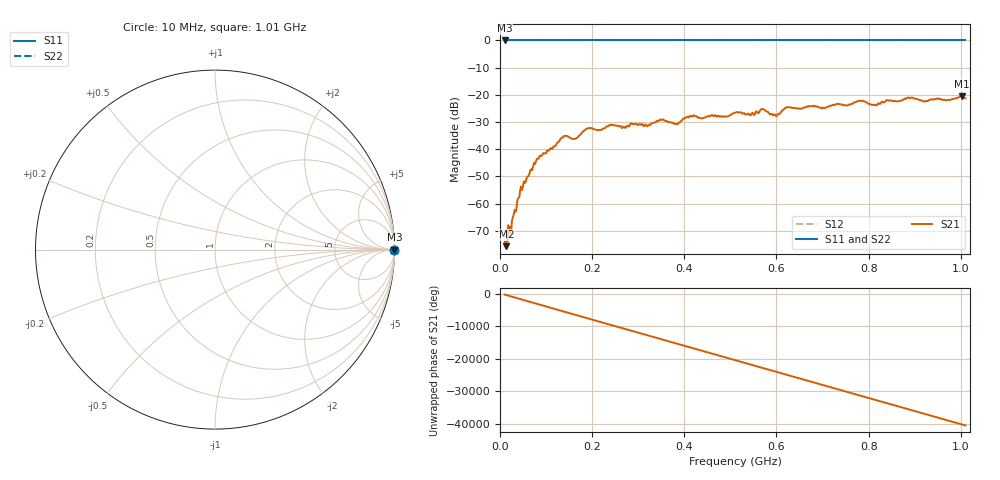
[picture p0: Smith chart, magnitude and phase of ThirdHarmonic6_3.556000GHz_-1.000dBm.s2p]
! 8/17/2025 11:45:01 AM
! C:\ANRITSUVNA\TEMP\TEMP.S2P
! CHANNEL.1
! TR.MEASUREMENT
! RAW.DATA
! RF.CORRECTION.OFF
! AVERAGING.OFF
! IF.BANDWIDTH: 5KHZ
! SWEEPTYPE:  FREQ.SWEEP(Linear)
! Reference Plane Port Info
! PORT:  PORT1  PORT2
! DISTANCE:  0  m  0  m
! TIME:  0  s  0  s
! PHASE.OFFSET:  0  deg.  0  deg.
! LOSS:  0  dB  0  dB
! REF.LOSS:  0  dB  0  dB
! REF.FREQ:  0  Hz  0  Hz
! Power Info
! POWER:  -20  dBm  -20  dBm
! EFF.POWER:  -20  dBm  -20  dBm
! SOURCE.ATTEN:  0  dB  0  dB
! TEST.ATTEN:  0  dB  0  dB
# GHZ S RI R 50.0
! FREQ.GHZ  S11RE  S11IM  S21RE  S21IM  S12RE  S12IM  S22RE  S22IM
!; PortSelection: Port_12
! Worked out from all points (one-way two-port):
!   501 points, 10 MHz to 1.01 GHz, reference 50 ohm
!   highest |S21| = -20.60 dB at 1.002 GHz (marker M1); lowest = -75.6 dB at 14 MHz (marker M2)
!   lowest |S11| = 0.0 dB at 10 MHz (marker M3)
!   |S11| at or under -10 dB: nowhere
!   |S22| runs from 0.0 to 0.0 dB; largest |S21 - S12| = 1.1
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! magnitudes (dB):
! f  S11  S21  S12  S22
! 10 MHz  0.0  -74.3  0.0  0.0
! 14 MHz  0.0  -75.6  0.0  0.0
! 48 MHz  0.0  -55.0  0.0  0.0
! 78 MHz  0.0  -44.5  0.0  0.0
! 136 MHz  0.0  -35.7  0.0  0.0
! 162 MHz  0.0  -36.2  0.0  0.0
! 178 MHz  0.0  -33.8  0.0  0.0
! 194 MHz  0.0  -32.2  0.0  0.0
! 344 MHz  0.0  -29.6  0.0  0.0
! 382 MHz  0.0  -30.6  0.0  0.0
! 416 MHz  0.0  -28.0  0.0  0.0
! 510 MHz  0.0  -26.6  0.0  0.0
! 548 MHz  0.0  -26.6  0.0  0.0
! 570 MHz  0.0  -25.3  0.0  0.0
! 596 MHz  0.0  -27.1  0.0  0.0
! 622 MHz  0.0  -24.6  0.0  0.0
! 678 MHz  0.0  -24.1  0.0  0.0
! 782 MHz  0.0  -22.2  0.0  0.0
! 814 MHz  0.0  -23.6  0.0  0.0
! 844 MHz  0.0  -22.1  0.0  0.0
! 1.002 GHz  0.0  -20.6  0.0  0.0
! 1.01 GHz  0.0  -21.2  0.0  0.0
